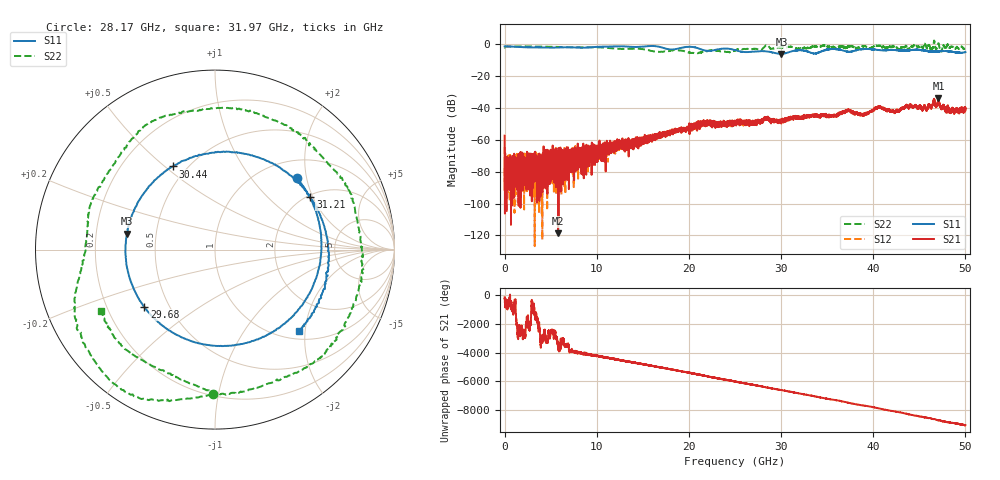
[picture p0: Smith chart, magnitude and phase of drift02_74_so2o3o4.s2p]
!Created with skrf (http://scikit-rf.org).
# Hz S RI R 50.0
!freq ReS11 ImS11 ReS21 ImS21 ReS12 ImS12 ReS22 ImS22
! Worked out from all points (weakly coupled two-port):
!   10001 points, 300 kHz to 50 GHz, reference 50 ohm
!   highest |S21| = -34.00 dB at 47.08 GHz (marker M1); lowest = -118.6 dB at 5.81 GHz (marker M2)
!   lowest |S11| = -6.1 dB at 30.05 GHz (marker M3), VSWR 2.97, Z = 16.9 + j3.97 ohm
!   |S11| at or under -10 dB: nowhere
!   |S22| runs from -5.7 to 2.4 dB; largest |S21 - S12| = 0.004
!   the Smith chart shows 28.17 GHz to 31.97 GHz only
!   S11 on the Smith chart (normalised r, x): 28.17 GHz: 1.38, +1.75; 29.68 GHz: 0.36, -0.31; 30.44 GHz: 0.42, +0.53; 31.21 GHz: 2.07, +1.91; 31.97 GHz: 1.17, -1.85
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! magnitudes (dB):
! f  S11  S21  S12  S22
! 300 kHz  -1.3  -57.4  -64.3  -2.1
! 255.3 MHz  -1.4  -73.3  -77.4  -1.4
! 540.3 MHz  -1.4  -75.3  -72.8  -1.5
! 5.81 GHz  -2.0  -118.6  -84.3  -1.7
! 8.335 GHz  -2.2  -79.4  -72.6  -1.9
! 16.67 GHz  -1.4  -57.6  -56.8  -4.7
! 21.54 GHz  -3.6  -49.0  -49.5  -4.7
! 25 GHz  -3.7  -49.4  -49.3  -3.9
! 28.17 GHz  -4.3  -46.9  -47.2  -1.9
! 29.68 GHz  -5.9  -48.8  -48.3  -2.1
! 30.05 GHz  -6.1  -47.5  -48.0  -2.0
! 30.44 GHz  -5.7  -46.4  -47.0  -1.8
! 31.21 GHz  -4.3  -46.2  -46.5  -1.7
! 31.97 GHz  -3.7  -46.3  -46.3  -2.8
! 33.34 GHz  -5.5  -44.2  -45.2  -1.6
! 37.29 GHz  -4.7  -41.9  -41.3  -1.1
! 38.85 GHz  -3.1  -43.9  -44.0  -1.3
! 40.64 GHz  -3.6  -39.3  -39.1  -1.0
! 41.67 GHz  -3.6  -41.0  -41.1  -1.8
! 47.08 GHz  -4.5  -34.0  -35.9  0.6
! 48.54 GHz  -4.7  -41.4  -40.6  -1.7
! 50 GHz  -4.9  -40.4  -40.8  -2.7
